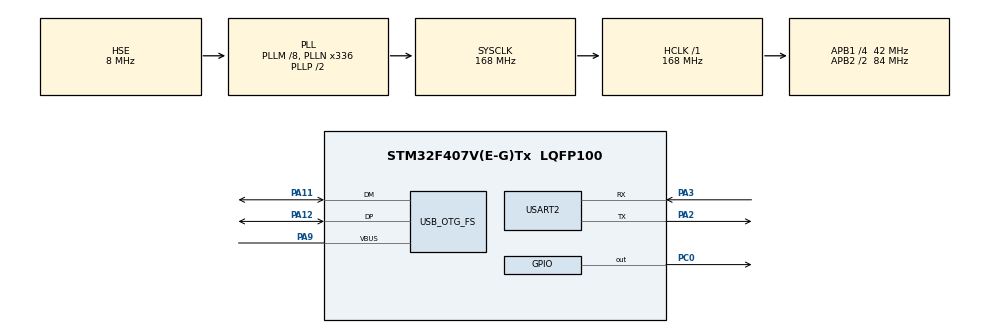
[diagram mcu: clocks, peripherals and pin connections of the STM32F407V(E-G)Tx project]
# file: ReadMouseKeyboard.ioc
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Mcu.Family=STM32F4
Mcu.Name=STM32F407V(E-G)Tx
Mcu.Package=LQFP100
NVIC.OTG_FS_IRQn=true\:0\:0\:false\:false\:true\:true\:true
NVIC.PriorityGroup=NVIC_PRIORITYGROUP_0
PA11.Mode=Host_Only
PA11.Signal=USB_OTG_FS_DM
PA12.Mode=Host_Only
PA12.Signal=USB_OTG_FS_DP
PA13.Mode=Serial_Wire
PA13.Signal=SYS_JTMS-SWDIO
PA14.Mode=Serial_Wire
PA14.Signal=SYS_JTCK-SWCLK
PA2.Mode=Asynchronous
PA2.Signal=USART2_TX
PA3.Mode=Asynchronous
PA3.Signal=USART2_RX
PA9.Mode=Activate_VBUS
PA9.Signal=USB_OTG_FS_VBUS
PC0.Signal=GPIO_Output
PH0-OSC_IN.Mode=HSE-External-Oscillator
PH0-OSC_IN.Signal=RCC_OSC_IN
PH1-OSC_OUT.Mode=HSE-External-Oscillator
PH1-OSC_OUT.Signal=RCC_OSC_OUT
ProjectManager.HeapSize=0x200
ProjectManager.StackSize=0x400
ProjectManager.TargetToolchain=STM32CubeIDE
RCC.48MHZClocksFreq_Value=48000000
RCC.AHBFreq_Value=168000000
RCC.APB1CLKDivider=RCC_HCLK_DIV4
RCC.APB1Freq_Value=42000000
RCC.APB1TimFreq_Value=84000000
RCC.APB2CLKDivider=RCC_HCLK_DIV2
RCC.APB2Freq_Value=84000000
RCC.APB2TimFreq_Value=168000000
RCC.CortexFreq_Value=168000000
RCC.HCLKFreq_Value=168000000
RCC.HSE_VALUE=8000000
RCC.HSI_VALUE=16000000
RCC.PLLM=8
RCC.PLLN=336
RCC.PLLQ=7
RCC.SYSCLKFreq_VALUE=168000000
RCC.SYSCLKSource=RCC_SYSCLKSOURCE_PLLCLK
RCC.VCOOutputFreq_Value=336000000
USART2.VirtualMode=VM_ASYNC
USB_HOST.BSP.number=1
USB_HOST.USBH_HandleTypeDef-HID_FS=hUsbHostFS
USB_HOST.VirtualModeFS=Hid
USB_HOST0.BSP.STBoard=false
USB_HOST0.BSP.api=Unknown
USB_HOST0.BSP.i2caddr=0
USB_HOST0.BSP.i2creg=0
USB_HOST0.BSP.instance=PC0
USB_HOST0.BSP.ip=GPIO
USB_HOST0.BSP.mode=Output
USB_HOST0.BSP.name=Drive_VBUS_FS
USB_HOST0.BSP.solution=PC0
USB_OTG_FS.VirtualMode=Host_Only
USB_OTG_FS.phy_itface=HCD_PHY_EMBEDDED
VP_USB_HOST_VS_USB_HOST_HID_FS.Mode=HID_FS
board=STM32F407G-DISC1

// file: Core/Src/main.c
/* USER CODE BEGIN Header */
/**
  ******************************************************************************
  * @file           : main.c
  * @brief          : Main program body
  ******************************************************************************
  * @attention
  *
  * <h2><center>&copy; Copyright (c) 2020 STMicroelectronics.
  * All rights reserved.</center></h2>
  *
  * This software component is licensed by ST under Ultimate Liberty license
  * SLA0044, the "License"; You may not use this file except in compliance with
  * the License. You may obtain a copy of the License at:
  *                             www.st.com/SLA0044
  *
  ******************************************************************************
  */
/* USER CODE END Header */
#include "main.h"
#include "usb_host.h"

/* USER CODE BEGIN Includes */
#include "usbh_hid.h"
#include "stdio.h"
/* USER CODE END Includes */

UART_HandleTypeDef huart2;

void SystemClock_Config(void);
static void MX_GPIO_Init(void);
static void MX_USART2_UART_Init(void);
void MX_USB_HOST_Process(void);

/* USER CODE BEGIN 0 */

char buffer[100];	//Uart2 TX Buffer

void USBH_HID_EventCallback(USBH_HandleTypeDef *phost)
{
	if(USBH_HID_GetDeviceType(phost) == HID_MOUSE)
	{
		HID_MOUSE_Info_TypeDef *Mouse_Info;
		/* Save the Data from the Mouse: */
		Mouse_Info = USBH_HID_GetMouseInfo(phost);
		int X_Value = Mouse_Info->x;
		int Y_Value = Mouse_Info->y;

		int len = sprintf(buffer, "X=%d, Y=%d, Button1=%d, Button2=%d, Button3=%d \n",
				X_Value, Y_Value,
				Mouse_Info->buttons[1],
				Mouse_Info->buttons[2],
				Mouse_Info->buttons[3]);

		HAL_UART_Transmit(&huart2, (uint8_t *)buffer, len, 100);
	}
	if(USBH_HID_GetDeviceType(phost) == HID_KEYBOARD)
	{
		HID_KEYBD_Info_TypeDef *Keyboard_Info;
		/* Save the Data from the Mouse: */
		Keyboard_Info = USBH_HID_GetKeybdInfo(phost);

		char key = USBH_HID_GetASCIICode(Keyboard_Info);

		int len = sprintf(buffer, "Key pressed: %c \n", key);

		HAL_UART_Transmit(&huart2, (uint8_t *)buffer, len, 100);
	}
}

/* USER CODE END 0 */

int main(void)
{

  /* MCU Configuration--------------------------------------------------------*/

  /* Reset of all peripherals, Initializes the Flash interface and the Systick. */
  HAL_Init();

  /* Configure the system clock */
  SystemClock_Config();

  /* Initialize all configured peripherals */
  MX_GPIO_Init();
  MX_USB_HOST_Init();
  MX_USART2_UART_Init();
  /* USER CODE BEGIN 2 */

  uint8_t len = sprintf(buffer, "Now is working!");
  HAL_UART_Transmit(&huart2, (uint8_t *)buffer, len, 100);

  /* USER CODE END 2 */

  /* Infinite loop */
  while (1)
  {
    MX_USB_HOST_Process();

  }
}

void SystemClock_Config(void)
{
  RCC_OscInitTypeDef RCC_OscInitStruct = {0};
  RCC_ClkInitTypeDef RCC_ClkInitStruct = {0};

  /** Configure the main internal regulator output voltage
  */
  __HAL_RCC_PWR_CLK_ENABLE();
  __HAL_PWR_VOLTAGESCALING_CONFIG(PWR_REGULATOR_VOLTAGE_SCALE1);
  /** Initializes the RCC Oscillators according to the specified parameters
  * in the RCC_OscInitTypeDef structure.
  */
  RCC_OscInitStruct.OscillatorType = RCC_OSCILLATORTYPE_HSE;
  RCC_OscInitStruct.HSEState = RCC_HSE_ON;
  RCC_OscInitStruct.PLL.PLLState = RCC_PLL_ON;
  RCC_OscInitStruct.PLL.PLLSource = RCC_PLLSOURCE_HSE;
  RCC_OscInitStruct.PLL.PLLM = 8;
  RCC_OscInitStruct.PLL.PLLN = 336;
  RCC_OscInitStruct.PLL.PLLP = RCC_PLLP_DIV2;
  RCC_OscInitStruct.PLL.PLLQ = 7;
  if (HAL_RCC_OscConfig(&RCC_OscInitStruct) != HAL_OK)
  {
    Error_Handler();
  }
  /** Initializes the CPU, AHB and APB buses clocks
  */
  RCC_ClkInitStruct.ClockType = RCC_CLOCKTYPE_HCLK|RCC_CLOCKTYPE_SYSCLK
                              |RCC_CLOCKTYPE_PCLK1|RCC_CLOCKTYPE_PCLK2;
  RCC_ClkInitStruct.SYSCLKSource = RCC_SYSCLKSOURCE_PLLCLK;
  RCC_ClkInitStruct.AHBCLKDivider = RCC_SYSCLK_DIV1;
  RCC_ClkInitStruct.APB1CLKDivider = RCC_HCLK_DIV4;
  RCC_ClkInitStruct.APB2CLKDivider = RCC_HCLK_DIV2;

  if (HAL_RCC_ClockConfig(&RCC_ClkInitStruct, FLASH_LATENCY_5) != HAL_OK)
  {
    Error_Handler();
  }
}

static void MX_USART2_UART_Init(void)
{

  huart2.Instance = USART2;
  huart2.Init.BaudRate = 115200;
  huart2.Init.WordLength = UART_WORDLENGTH_8B;
  huart2.Init.StopBits = UART_STOPBITS_1;
  huart2.Init.Parity = UART_PARITY_NONE;
  huart2.Init.Mode = UART_MODE_TX_RX;
  huart2.Init.HwFlowCtl = UART_HWCONTROL_NONE;
  huart2.Init.OverSampling = UART_OVERSAMPLING_16;
  if (HAL_UART_Init(&huart2) != HAL_OK)
  {
    Error_Handler();
  }

}

static void MX_GPIO_Init(void)
{
  GPIO_InitTypeDef GPIO_InitStruct = {0};

  /* GPIO Ports Clock Enable */
  __HAL_RCC_GPIOH_CLK_ENABLE();
  __HAL_RCC_GPIOC_CLK_ENABLE();
  __HAL_RCC_GPIOA_CLK_ENABLE();

  /*Configure GPIO pin Output Level */
  HAL_GPIO_WritePin(GPIOC, GPIO_PIN_0, GPIO_PIN_RESET);

  /*Configure GPIO pin : PC0 */
  GPIO_InitStruct.Pin = GPIO_PIN_0;
  GPIO_InitStruct.Mode = GPIO_MODE_OUTPUT_PP;
  GPIO_InitStruct.Pull = GPIO_NOPULL;
  GPIO_InitStruct.Speed = GPIO_SPEED_FREQ_LOW;
  HAL_GPIO_Init(GPIOC, &GPIO_InitStruct);

}

void Error_Handler(void)
{
}

/************************ (C) COPYRIGHT STMicroelectronics *****END OF FILE****/
